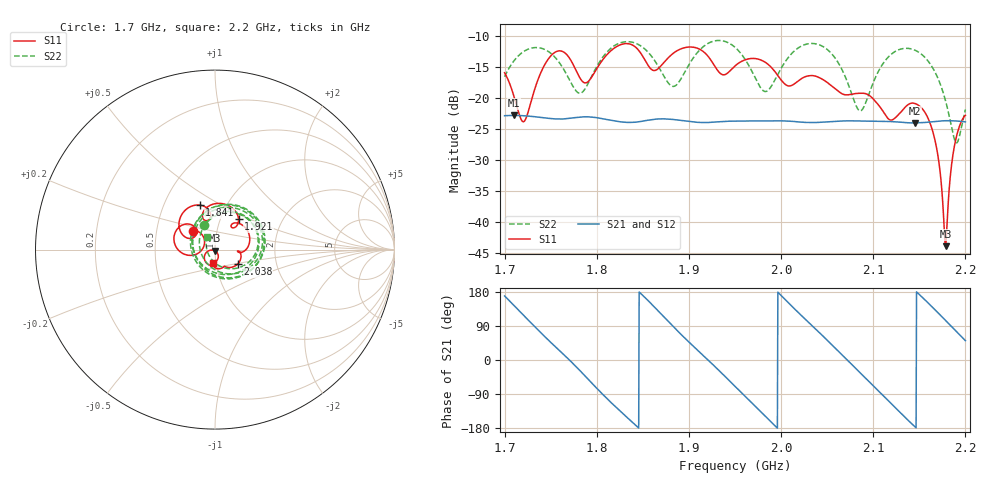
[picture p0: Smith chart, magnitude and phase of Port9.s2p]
# Hz S RI R 50
! CMT, CMT808U, 21440046, 21.4.3/4
! Date: 4/9/2026 1:47:28 AM
! Data: Format (Calibration Info)
! Freq	S11:Re/Im(F2)	S41:Re/Im(F2)	S14:Re/Im(F2)	S44:Re/Im(F2)
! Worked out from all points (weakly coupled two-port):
!   1001 points, 1.7 GHz to 2.2 GHz, reference 50 ohm
!   highest |S21| = -22.77 dB at 1.71 GHz (marker M1); lowest = -24.0 dB at 2.146 GHz (marker M2)
!   lowest |S11| = -43.9 dB at 2.179 GHz (marker M3), VSWR 1.01, Z = 49.8 - j0.59 ohm
!   |S11| at or under -10 dB: start of sweep to end of sweep
!   |S22| runs from -27.2 to -10.7 dB; largest |S21 - S12| = 0.001
!   S11 on the Smith chart (normalised r, x): 1.7 GHz: 0.77, +0.17; 1.841 GHz: 0.75, +0.40; 1.921 GHz: 1.22, +0.43; 2.038 GHz: 1.27, -0.21; 2.2 GHz: 0.97, -0.14
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1.7e9  -0.1206 0.106  -0.071 0.0138  -0.0709 0.0129  -0.0586 0.1373
1.7105e9  -0.0672 0.076  -0.0582 0.0436  -0.0585 0.0427  0.0162 0.2015
1.7215e9  -0.064 0.0136  -0.0313 0.0651  -0.032 0.0645  0.1228 0.2067
1.7575e9  -0.2273 0.0777  0.0593 0.0334  0.0585 0.034  0.1755 -0.1007
1.7835e9  -0.1019 0.095  0.0597 -0.0379  0.06 -0.037  -0.0984 -0.0512
1.8145e9  -0.2003 0.1299  -0.0226 -0.0627  -0.0217 -0.0628  0.0386 0.2471
1.841e9  -0.0858 0.2481  -0.063 -0.0118  -0.0626 -0.0125  0.2725 0.0647
1.867e9  -0.0587 0.1642  -0.0425 0.0533  -0.043 0.0525  0.0756 -0.1632
1.8925e9  -0.0142 0.2519  0.0278 0.06  0.0269 0.0601  -0.136 0.0591
1.9215e9  0.1311 0.1701  0.0638 -0.00196  0.0636 -0.00106  0.1414 0.2406
1.95e9  0.1065 0.148  0.023 -0.0613  0.0238 -0.0608  0.252 -0.0548
1.9905e9  0.174 0.00154  -0.0639 -0.0153  -0.0635 -0.0161  -0.1238 0.0362
2.0335e9  0.1391 -0.0623  -0.000989 0.0637  -0.00191 0.0636  0.2401 0.1379
2.0385e9  0.1273 -0.0792  0.0117 0.0627  0.0108 0.0628  0.2604 0.0856
2.064e9  0.0576 -0.0953  0.0619 0.0212  0.0615 0.022  0.1271 -0.131
2.0855e9  0.0344 -0.1042  0.0547 -0.0361  0.0552 -0.0353  -0.0705 -0.0362
2.117e9  -0.00832 -0.0671  -0.0216 -0.0613  -0.0207 -0.0615  0.0675 0.2069
2.1455e9  -0.0412 -0.0807  -0.0631 -0.00362  -0.063 -0.0045  0.2405 0.0411
2.166e9  -0.0471 -0.0147  -0.046 0.0458  -0.0467 0.045  0.1354 -0.1
2.1785e9  -0.00243 -0.00593  -0.0163 0.0639  -0.0172 0.0636  0.0265 -0.0915
2.19e9  0.0179 -0.0447  0.0165 0.0635  0.0155 0.0637  -0.0401 -0.0176
2.2e9  -0.0101 -0.0722  0.0406 0.0502  0.0399 0.0507  -0.0443 0.0679
